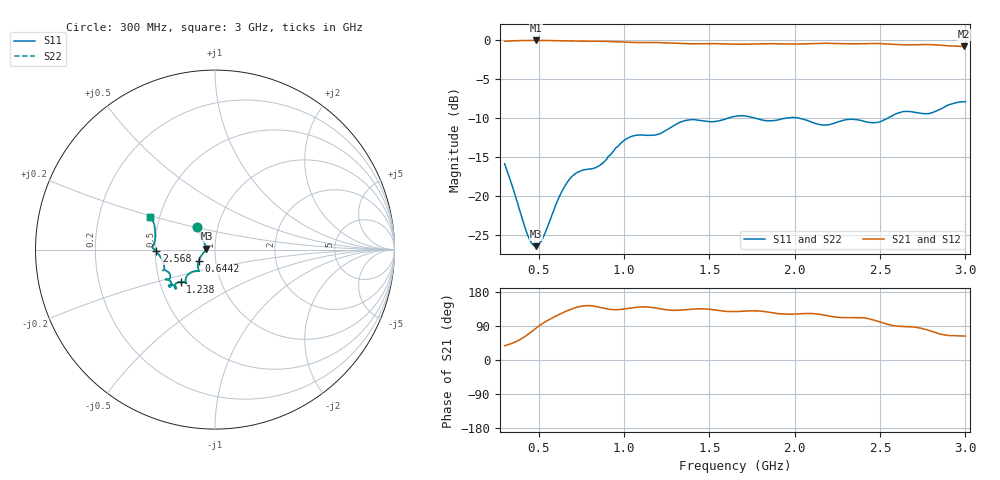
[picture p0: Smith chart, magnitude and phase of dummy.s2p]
! S1P to S2P converted from file: C:\GitWork\Spar\Data\dummy.s1p
! Spar Program version 0.4
# HZ S MA R 50
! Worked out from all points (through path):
!   401 points, 300 MHz to 3 GHz, reference 50 ohm
!   highest |S21| = -0.01 dB at 482.2 MHz (marker M1); lowest = -0.8 dB at 2.993 GHz (marker M2)
!   lowest |S11| = -26.4 dB at 482.2 MHz (marker M3), VSWR 1.10, Z = 45.4 + j0.495 ohm
!   |S11| at or under -10 dB: start of sweep to 1.604 GHz; 1.774 GHz to 1.94 GHz (166 MHz wide, 8.94 % of centre); 2.033 GHz to 2.543 GHz (509.7 MHz wide, 22.3 % of centre)
!   |S22| runs from -26.4 to -7.9 dB; largest |S21 - S12| = 0
!   S11 on the Smith chart (normalised r, x): 300 MHz: 0.80, +0.21; 644.2 MHz: 0.83, -0.11; 1.238 GHz: 0.64, -0.25; 2.568 GHz: 0.51, -0.01; 3 GHz: 0.44, +0.19
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3e8  0.1618 127.7  0.9868 37.7  0.9868 37.7  0.1618 127.7
3.945e8  0.07736 145.2  0.997 55.2  0.997 55.2  0.07736 145.2
4.8225e8  0.04798 173.5  0.9988 83.5  0.9988 83.5  0.04798 173.5
5.4975e8  0.06315 -166.2  0.998 103.8  0.998 103.8  0.06315 -166.2
6.4425e8  0.1122 -144.5  0.9937 125.5  0.9937 125.5  0.1122 -144.5
7.5225e8  0.1466 -127.9  0.9892 142.1  0.9892 142.1  0.1466 -127.9
9.345e8  0.1929 -136.8  0.9812 133.2  0.9812 133.2  0.1929 -136.8
1.11e9  0.2471 -129.8  0.969 140.2  0.969 140.2  0.2471 -129.8
1.2045e9  0.2511 -134.4  0.968 135.6  0.968 135.6  0.2511 -134.4
1.23825e9  0.262 -136.9  0.9651 133.1  0.9651 133.1  0.262 -136.9
1.46775e9  0.304 -135.0  0.9527 135.0  0.9527 135.0  0.304 -135.0
1.65e9  0.3261 -142.3  0.9453 127.7  0.9453 127.7  0.3261 -142.3
1.9605e9  0.3184 -149.2  0.948 120.8  0.948 120.8  0.3184 -149.2
2.10225e9  0.2982 -147.4  0.9545 122.6  0.9545 122.6  0.2982 -147.4
2.2575e9  0.3012 -157.6  0.9536 112.4  0.9536 112.4  0.3012 -157.6
2.41275e9  0.3018 -159.2  0.9534 110.8  0.9534 110.8  0.3018 -159.2
2.5545e9  0.3216 -177.0  0.9469 93.0  0.9469 93.0  0.3216 -177.0
2.568e9  0.3274 -178.3  0.9449 91.7  0.9449 91.7  0.3274 -178.3
2.7165e9  0.3438 175.8  0.939 85.8  0.939 85.8  0.3438 175.8
2.8785e9  0.3749 156.1  0.9271 66.1  0.9271 66.1  0.3749 156.1
2.99325e9  0.4043 153.2  0.9146 63.2  0.9146 63.2  0.4043 153.2
3e9  0.4036 153.1  0.915 63.1  0.915 63.1  0.4036 153.1
